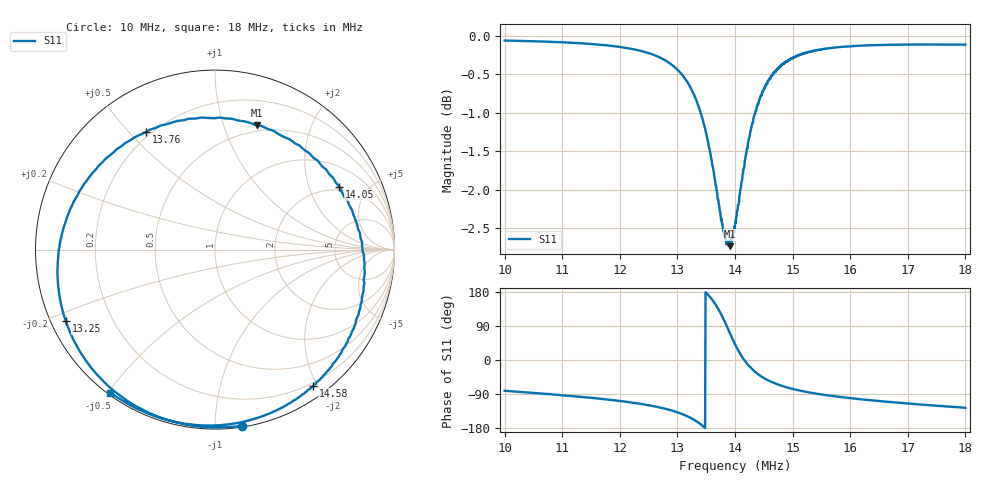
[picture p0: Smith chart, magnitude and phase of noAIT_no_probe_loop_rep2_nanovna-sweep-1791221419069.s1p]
! NanoVNA Web complex sweep
! Processing: unaveraged complex samples; linear segment spacing; no smoothing
# Hz S RI R 50
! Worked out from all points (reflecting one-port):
!   1010 points, 10 MHz to 18 MHz, reference 50 ohm
!   lowest |S11| = -2.7 dB at 13.91 MHz (marker M1), VSWR 6.41, Z = 21.9 + j64.8 ohm
!   phase of S11 starts at -81 deg and turns -405 deg over the sweep
!   S11 on the Smith chart (normalised r, x): 10 MHz: 0.01, -1.17; 13.25 MHz: 0.04, -0.23; 13.76 MHz: 0.18, +0.56; 14.05 MHz: 1.84, +3.23; 14.58 MHz: 0.16, -1.94; 18 MHz: 0.01, -0.51
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1e7  0.1509 -0.9817
1.100698e7  -0.0516 -0.9893
1.200604e7  -0.3069 -0.9346
1.260071e7  -0.5183 -0.8219
1.282272e7  -0.6176 -0.7381
1.300509e7  -0.7083 -0.6337
1.325089e7  -0.8311 -0.3999
1.342533e7  -0.8779 -0.1215
1.355219e7  -0.8293 0.1651
1.365527e7  -0.6824 0.427
1.371077e7  -0.5464 0.5601
1.375835e7  -0.3852 0.6537
1.383764e7  -0.0772 0.7356
1.3909e7  0.2326 0.6919
1.395657e7  0.4154 0.6151
1.400414e7  0.5731 0.4949
1.405172e7  0.6933 0.3491
1.410722e7  0.7818 0.1671
1.417065e7  0.8296 -0.0287
1.431338e7  0.7849 -0.3939
1.444024e7  0.6803 -0.6079
1.458296e7  0.5473 -0.76
1.476533e7  0.3904 -0.8694
1.50032e7  0.2266 -0.9401
1.544722e7  0.00511 -0.9794
1.600225e7  -0.1826 -0.9671
1.700131e7  -0.4149 -0.8958
1.800036e7  -0.5823 -0.7971
